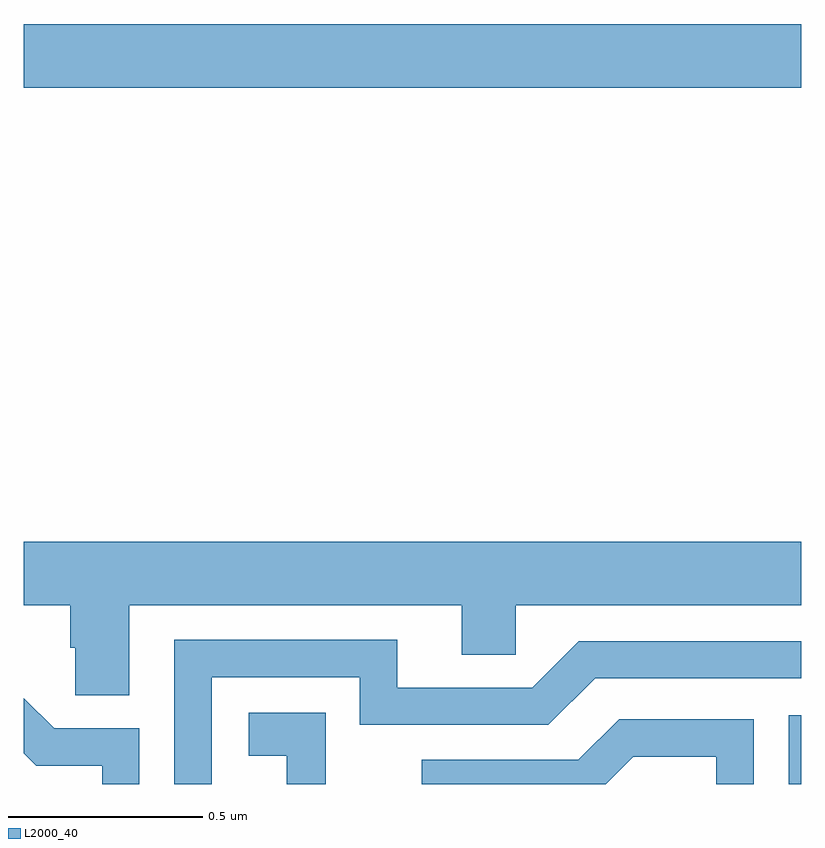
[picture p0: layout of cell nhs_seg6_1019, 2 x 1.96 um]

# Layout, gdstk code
import gdstk
lib = gdstk.Library(unit=1e-6, precision=1e-09)
def R(c, l, rs):  # rectangles x0, y0, x1, y1
    for r in rs: c.add(gdstk.rectangle(r[:2], r[2:], *l))
def P(c, l, *ps):  # polygons
    for p in ps: c.add(gdstk.Polygon(p, *l))
L2000_40 = (2000, 40)

nhs_seg6_1019 = lib.new_cell('nhs_seg6_1019')
R(nhs_seg6_1019, L2000_40, [(124.968,989.5,125,989.677), (123,991.292,125,991.456)])
P(nhs_seg6_1019, L2000_40, [(123.271,989.96),(124.127,989.96),(124.127,989.833),(124.266,989.833),(124.266,989.96),(125,989.96),(125,990.124),(123,990.124),(123,989.96),(123.119,989.96),(123.119,989.851),(123.132,989.851),(123.132,989.728),(123.271,989.728)],
  [(123.483,989.775),(123.864,989.775),(123.864,989.652),(124.35,989.652),(124.47,989.772),(125,989.772),(125,989.868),(124.428,989.868),(124.308,989.748),(123.961,989.748),(123.961,989.871),(123.387,989.871),(123.387,989.5),(123.483,989.5)],
  [(123.297,989.643),(123.078,989.643),(123,989.721),(123,989.579),(123.032,989.547),(123.201,989.547),(123.201,989.5),(123.297,989.5)],
  [(123.777,989.683),(123.579,989.683),(123.579,989.573),(123.677,989.573),(123.677,989.5),(123.777,989.5)],
  [(124.568,989.57),(124.782,989.57),(124.782,989.5),(124.878,989.5),(124.878,989.667),(124.532,989.667),(124.427,989.562),(124.024,989.562),(124.024,989.5),(124.498,989.5)])

lib.write_gds('nhs_seg6_1019.gds')
